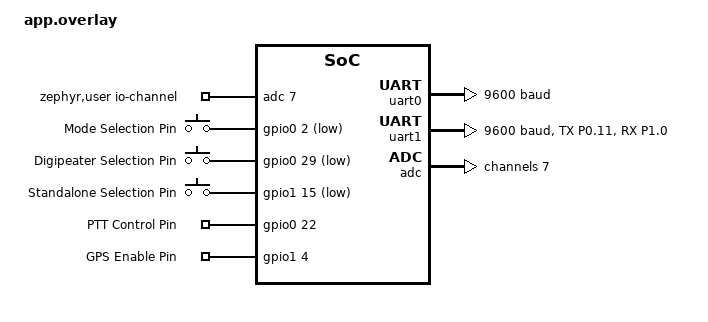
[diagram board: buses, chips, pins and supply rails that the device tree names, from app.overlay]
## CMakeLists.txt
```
cmake_minimum_required(VERSION 3.20.0)
find_package(Zephyr REQUIRED HINTS $ENV{ZEPHYR_BASE})
project(peripheral_nus)

target_sources(app PRIVATE
        src/main.c
        src/mode_select.c
        src/ptt.c
        src/gps.c
        src/gps_format.c
        src/tnc_config.c
        src/ax25.c
        src/fx25.c
        src/kiss.c
        src/tnc.c
        src/afsk_modulator.cpp
        src/afsk_demodulator.cpp
        src/audio_tx_pwm.cpp
        src/audio_rx_adc.cpp
)
```

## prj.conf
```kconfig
# Bluetooth
CONFIG_BT=y
CONFIG_BT_PERIPHERAL=y
CONFIG_BT_DEVICE_NAME="YATNC"
CONFIG_BT_DEVICE_APPEARANCE=833
CONFIG_BT_ZEPHYR_NUS=y

# MTU – allow large packets so whole messages fit in one notification
CONFIG_BT_L2CAP_TX_MTU=247
CONFIG_BT_BUF_ACL_RX_SIZE=251
CONFIG_BT_BUF_ACL_TX_SIZE=251
CONFIG_BT_CTLR_DATA_LENGTH_MAX=251

# UART – interrupt-driven
CONFIG_SERIAL=y
CONFIG_UART_INTERRUPT_DRIVEN=y
CONFIG_RING_BUFFER=y

# USB CDC ACM console (board DTS routes console to USB)
CONFIG_CONSOLE=y
CONFIG_UART_CONSOLE=y
CONFIG_UART_LINE_CTRL=y

# Boot banner is printed before main() runs, i.e. before a terminal has had
# a chance to open the USB CDC ACM port - it gets dropped. Suppress it and
# print the version manually in main() after waiting for DTR instead.
CONFIG_BOOT_BANNER=n

# Logging
CONFIG_PRINTK=y
CONFIG_THREAD_NAME=y

# Report stack overflows as an immediate fault instead of silent corruption
CONFIG_HW_STACK_PROTECTION=y

# Default (1024) isn't enough: uart_flush_work_handler -> process_uart_to_ble
# -> tnc_process_radio_bytes puts ~1.6KB of locals (payload[512], ax25_frame_t,
# kiss_buf[512], src/dest strings) on this thread's stack per UART frame,
# overflowing it hard enough to lock up the core before the fault handler can
# even print a dump (see tnc.c's raw-stream fallback path).
CONFIG_SYSTEM_WORKQUEUE_STACK_SIZE=4096

# GPIO
CONFIG_GPIO=y

# Persisted runtime config (callsign, beacon interval) - stored in the
# board's existing "storage" flash partition via the NVS settings backend.
CONFIG_FLASH=y
CONFIG_FLASH_MAP=y
CONFIG_NVS=y
CONFIG_SETTINGS=y
CONFIG_SETTINGS_NVS=y

# Hardware PWM for TX Audio DAC (Pin 20 carrier, duty updated per AFSK sample)
CONFIG_PWM=y

# C++ Support for AFSK Modulator & Demodulator
CONFIG_CPP=y
CONFIG_STD_CPP17=y
CONFIG_GLIBCXX_LIBCPP=y
CONFIG_NEWLIB_LIBC=y

# ADC for RX Audio Pin 31 (AIN7)
CONFIG_ADC=y

# Output
CONFIG_BUILD_OUTPUT_UF2=y
```

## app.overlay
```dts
#include <zephyr/dt-bindings/pinctrl/nrf-pinctrl.h>
#include <zephyr/dt-bindings/adc/nrf-saadc.h>

/ {
	chosen {
		zephyr,nus-uart = &uart0;
	};

	zephyr,user {
		io-channels = <&adc 7>; /* AIN7 = P0.31 */
	};

	mode_select {
		compatible = "gpio-keys";
		mode_pin: mode_pin {
			gpios = <&gpio0 2 (GPIO_PULL_UP | GPIO_ACTIVE_LOW)>;
			label = "Mode Selection Pin";
		};
		digi_pin: digi_pin {
			gpios = <&gpio0 29 (GPIO_PULL_UP | GPIO_ACTIVE_LOW)>;
			label = "Digipeater Selection Pin";
		};
		standalone_pin: standalone_pin {
			gpios = <&gpio1 15 (GPIO_PULL_UP | GPIO_ACTIVE_LOW)>;
			label = "Standalone Selection Pin";
		};
	};

	ptt_control {
		compatible = "gpio-keys";
		ptt_pin: ptt_pin {
			gpios = <&gpio0 22 (GPIO_PULL_DOWN | GPIO_ACTIVE_HIGH)>;
			label = "PTT Control Pin";
		};
	};

	gps_control {
		compatible = "gpio-keys";
		gps_enable_pin: gps_enable_pin {
			gpios = <&gpio1 4 (GPIO_PULL_DOWN | GPIO_ACTIVE_HIGH)>;
			label = "GPS Enable Pin";
		};
	};

};

&uart0 {
	current-speed = <9600>;
};

&pinctrl {
	uart1_default: uart1_default {
		group1 {
			psels = <NRF_PSEL(UART_TX, 0, 11)>,
				<NRF_PSEL(UART_RX, 1, 0)>;
		};
	};

	uart1_sleep: uart1_sleep {
		group1 {
			psels = <NRF_PSEL(UART_TX, 0, 11)>,
				<NRF_PSEL(UART_RX, 1, 0)>;
			low-power-enable;
		};
	};
};

&uart1 {
	compatible = "nordic,nrf-uarte";
	status = "okay";
	current-speed = <9600>;
	pinctrl-0 = <&uart1_default>;
	pinctrl-1 = <&uart1_sleep>;
	pinctrl-names = "default", "sleep";
};

&adc {
	#address-cells = <1>;
	#size-cells = <0>;

	channel@7 {
		reg = <7>;
		zephyr,gain = "ADC_GAIN_1_6";
		zephyr,reference = "ADC_REF_INTERNAL";
		zephyr,acquisition-time = <ADC_ACQ_TIME_DEFAULT>;
		zephyr,resolution = <12>;
		zephyr,input-positive = <NRF_SAADC_AIN7>;
	};
};

/*
 * TX Audio (Pin 20) is driven by the nRF52840's hardware PWM peripheral
 * instead of bit-banged GPIO: channel 1 is added alongside the board's
 * existing channel 0 (onboard LED, unused by this app) so PWM0 now also
 * routes to P0.20. The peripheral free-runs the carrier in hardware; the
 * app only updates the duty cycle once per audio sample.
 */
&pwm0_default {
	group2 {
		psels = <NRF_PSEL(PWM_OUT1, 0, 20)>;
	};
};

&pwm0_sleep {
	group2 {
		psels = <NRF_PSEL(PWM_OUT1, 0, 20)>;
		low-power-enable;
	};
};

/*
 * This board ships with Adafruit's UF2 bootloader, which - per the board's
 * own Kconfig.defconfig comment - "exists outside of the partitions
 * specified in the DTS file". The vendor DTS's storage_partition (last 32K
 * of flash, 0xf8000-0x100000) is generic MCUboot-template boilerplate that
 * doesn't reflect this board's real layout: the actual Adafruit bootloader
 * for the nRF52840 occupies roughly 0xf4000-0x100000, directly overlapping
 * it. NVS writing there was erasing the bootloader's own settings/MBR-params
 * pages on every boot. Relocate storage well clear of both our own code
 * (currently ~167K starting at 0x1000) and the real bootloader.
 */
&storage_partition {
	reg = <0x90000 0x8000>;
};
```

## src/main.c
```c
/*
 * UART0 <-> BLE NUS Bridge & APRS TNC Server for ProMicro nRF52840
 *
 * SPDX-License-Identifier: Apache-2.0
 *
 * Uses interrupt-driven UART with a delayed work item for batching.
 * Supports hardware GPIO mode selection:
 *   - APP_MODE_BRIDGE: Transparent UART <-> BLE bridge (Pin High / Unbridged)
 *   - APP_MODE_PACKET_TNC: AX.25 / KISS TNC server (Pin Low / Grounded)
 *   - APP_MODE_DIGIPEATER: AX.25 Digipeater & BLE forwarding (Digi Pin Grounded)
 *
 * Console/printk goes over USB CDC ACM (configured by board DTS).
 */

#include <string.h>
#include <zephyr/kernel.h>
#include <zephyr/device.h>
#include <zephyr/drivers/uart.h>
#include <zephyr/bluetooth/bluetooth.h>
#include <zephyr/bluetooth/conn.h>
#include <zephyr/bluetooth/services/nus.h>
#include <zephyr/sys/ring_buffer.h>
#include <zephyr/version.h>

#include "mode_select.h"
#include "ptt.h"
#include "gps.h"
#include "tnc.h"
#include "ax25.h"
#include "fx25.h"
#include "kiss.h"
#include "tnc_config.h"
#include "audio_tx_pwm.hpp"
#include "audio_rx_adc.hpp"
#include "log_ts.h"

/* ---------- BLE advertising -------------------------------------------- */

#define DEVICE_NAME     CONFIG_BT_DEVICE_NAME
#define DEVICE_NAME_LEN (sizeof(DEVICE_NAME) - 1)

static const struct bt_data ad[] = {
	BT_DATA_BYTES(BT_DATA_FLAGS, (BT_LE_AD_GENERAL | BT_LE_AD_NO_BREDR)),
	BT_DATA(BT_DATA_NAME_COMPLETE, DEVICE_NAME, DEVICE_NAME_LEN),
};

static const struct bt_data sd[] = {
	BT_DATA_BYTES(BT_DATA_UUID128_ALL, BT_UUID_NUS_SRV_VAL),
};

/* ---------- UART ------------------------------------------------------- */

#define UART_NODE DT_CHOSEN(zephyr_nus_uart)
static const struct device *const uart_dev = DEVICE_DT_GET(UART_NODE);

#define RING_BUF_SIZE 1024
RING_BUF_DECLARE(uart_ring_buf, RING_BUF_SIZE);

/*
 * Delayed work: scheduled 50 ms after last received byte.
 * When it fires, the UART line has been idle for 50 ms → full message ready.
 */
static void uart_flush_work_handler(struct k_work *work);
static K_WORK_DELAYABLE_DEFINE(uart_flush_work, uart_flush_work_handler);

#define UART_IDLE_TIMEOUT_MS 50

/* ---------- Forward declarations --------------------------------------- */
static int process_uart_to_ble(void);

/* ---------- UART ISR --------------------------------------------------- */

/* printk() is not IRQ-safe on the USB CDC ACM console backend used here -
 * it can block waiting on the USB stack, which never completes from inside
 * an ISR and freezes the whole system (no fault, no reset, everything
 * including the tick just stops). Count drops here; report them from
 * uart_flush_work_handler() instead, which runs in thread context.
 */
static atomic_t uart_dropped_bytes = ATOMIC_INIT(0);

static void uart_isr(const struct device *dev, void *user_data)
{
	ARG_UNUSED(user_data);

	uart_irq_update(dev);

	if (uart_irq_rx_ready(dev)) {
		uint8_t buf[64];
		int len;

		while ((len = uart_fifo_read(dev, buf, sizeof(buf))) > 0) {
			uint32_t put = ring_buf_put(&uart_ring_buf, buf, len);
			if (put < (uint32_t)len) {
				atomic_add(&uart_dropped_bytes, (atomic_val_t)(len - (int)put));
			}
		}

		/*
		 * (Re)schedule the flush work 50 ms from now.
		 * Batch message when line goes quiet for 50ms.
		 */
		k_work_reschedule(&uart_flush_work, K_MSEC(UART_IDLE_TIMEOUT_MS));
	}
}

/* ---------- Flush work: sends accumulated UART data over BLE ----------- */

static void uart_flush_work_handler(struct k_work *work)
{
	ARG_UNUSED(work);

	atomic_val_t dropped = atomic_set(&uart_dropped_bytes, 0);
	if (dropped) {
		printk("Warning: UART ring buffer full, dropped %d bytes\n", (int)dropped);
	}

	process_uart_to_ble();
}

/*
 * bt_nus_send() -> bt_gatt_notify() -> bt_att_create_pdu() blocks for up to
 * BT_ATT_TIMEOUT (30s, see att.c) when the host's ATT buffer pool is
 * exhausted - i.e. whenever the BLE peer isn't draining notifications as
 * fast as we're producing them. ble_send_raw() is called straight from
 * uart_flush_work_handler on the system workqueue, which is also the only
 * thing draining uart_ring_buf - if it blocks there, UART reception stalls
 * too. Decouple: enqueue here (fast, never blocks) and let a dedicated
 * thread take the blocking hit, same pattern as tx_thread_entry/tx_msgq.
 */
#define BLE_TX_ITEM_MAX_LEN 512
#define BLE_TX_MSGQ_DEPTH 16

struct ble_tx_item {
	uint8_t data[BLE_TX_ITEM_MAX_LEN];
	size_t len;
};

K_MSGQ_DEFINE(ble_tx_msgq, sizeof(struct ble_tx_item), BLE_TX_MSGQ_DEPTH, 4);

/* Ref'd in ble_connected(), unref'd in ble_disconnected() - see below. */
static struct bt_conn *active_conn;

static void ble_tx_thread_entry(void *p1, void *p2, void *p3)
{
	ARG_UNUSED(p1);
	ARG_UNUSED(p2);
	ARG_UNUSED(p3);

	struct ble_tx_item item;
	int consecutive_fail = 0;

	k_thread_name_set(k_current_get(), "ble_tx");

	while (1) {
		k_msgq_get(&ble_tx_msgq, &item, K_FOREVER);

		int err = bt_nus_send(NULL, item.data, item.len);
		if (err) {
			if (err == -ENOTCONN) {
				printk("  (no BLE peer)\n");
				consecutive_fail = 0;
			} else {
				/* bt_att_create_pdu() blocks up to 30s per call when the
				 * peer isn't draining notifications fast enough, then
				 * fails with -ENOMEM - this thread would otherwise grind
				 * at ~1 item/30s forever while ble_send_raw() drops
				 * everything else as "queue full". Two in a row means the
				 * link is wedged, not just slow: force a disconnect so
				 * the peer (or a fresh one) gets a clean reconnect and
				 * the ATT buffer pool has a chance to recover.
				 */
				printk("  bt_nus_send err %d (%d in a row)\n", err, ++consecutive_fail);
				if (consecutive_fail >= 2 && active_conn) {
					printk("BLE TX stuck, forcing disconnect to recover\n");
					bt_conn_disconnect(active_conn, BT_HCI_ERR_REMOTE_USER_TERM_CONN);
					consecutive_fail = 0;
				}
			}
		} else {
			consecutive_fail = 0;
		}
	}
}

/* 1024 was tight for a thread that calls into bt_nus_send()/bt_gatt_notify()
 * on top of its own 520-byte struct ble_tx_item local - bumped as a
 * precaution alongside the system workqueue stack overflow fix (see
 * CONFIG_SYSTEM_WORKQUEUE_STACK_SIZE in prj.conf).
 */
#define BLE_TX_THREAD_STACK_SIZE 2048
#define BLE_TX_THREAD_PRIORITY 7

K_THREAD_DEFINE(ble_tx_thread_id, BLE_TX_THREAD_STACK_SIZE, ble_tx_thread_entry,
		 NULL, NULL, NULL, BLE_TX_THREAD_PRIORITY, 0, 0);

static int ble_send_raw(const uint8_t *data, size_t len)
{
	if (data == NULL || len == 0 || len > BLE_TX_ITEM_MAX_LEN) {
		return -EINVAL;
	}

	struct ble_tx_item item;
	item.len = len;
	memcpy(item.data, data, len);

	int err = k_msgq_put(&ble_tx_msgq, &item, K_NO_WAIT);
	if (err) {
		printk("Warning: BLE TX queue full, dropped notification of %d bytes\n", (int)len);
	}
	return err;
}

static int process_uart_to_ble(void)
{
	uint8_t data[247]; /* max ATT payload */
	int len;

	app_mode_t mode = mode_select_get_current();

	while ((len = ring_buf_get(&uart_ring_buf, data, sizeof(data))) > 0) {
		if (mode == APP_MODE_BRIDGE) {
			printk("UART -> BLE (Bridge): %d bytes\n", len);
			ble_send_raw(data, len);
		} else {
			printk("UART -> TNC Engine (%s): %d bytes\n", mode_select_get_name(mode), len);
			tnc_process_radio_bytes(data, len, mode, uart_dev, ble_send_raw);
		}
	}

	return 0;
}

/* ---------- BLE NUS callbacks ------------------------------------------ */

static void nus_notif_enabled(bool enabled, void *ctx)
{
	ARG_UNUSED(ctx);
	printk("BLE Notifications %s\n", enabled ? "Enabled" : "Disabled");
}

static void nus_received(struct bt_conn *conn, const void *data,
			 uint16_t len, void *ctx)
{
	ARG_UNUSED(conn);
	ARG_UNUSED(ctx);

	app_mode_t mode = mode_select_get_current();

	if (mode == APP_MODE_BRIDGE) {
		printk("BLE -> UART (Bridge): %d bytes\n", len);
		tnc_queue_tx_packet((const uint8_t *)data, len, mode);
	} else {
		printk("BLE -> TNC Engine (%s): %d bytes\n", mode_select_get_name(mode), len);
		tnc_process_ble_bytes((const uint8_t *)data, len, mode, uart_dev, ble_send_raw);
	}
}

static struct bt_nus_cb nus_listener = {
	.notif_enabled = nus_notif_enabled,
	.received      = nus_received,
};

/* ---------- BLE connection callbacks (re-advertise on disconnect) ------ */

static void ble_connected(struct bt_conn *conn, uint8_t err)
{
	if (err) {
		printk("BLE Connect failed (err %u)\n", err);
		return;
	}
	printk("BLE Connected\n");
	active_conn = bt_conn_ref(conn);
}

/*
 * Restarting advertising is deferred to the system workqueue instead of
 * calling bt_le_adv_start() straight from the disconnected callback: the
 * connection object for the link that just dropped isn't necessarily
 * released yet at that point, and starting connectable advertising before
 * it is can fail (observed as bt_le_adv_start() returning -12/-ENOMEM,
 * "no more connection objects available"). Deferring gives the stack a
 * chance to finish tearing down the old connection first.
 */
static void adv_restart_work_handler(struct k_work *work)
{
	ARG_UNUSED(work);

	int err = bt_le_adv_start(BT_LE_ADV_CONN_FAST_1, ad, ARRAY_SIZE(ad), sd, ARRAY_SIZE(sd));
	if (err) {
		printk("Failed to restart advertising: %d\n", err);
	} else {
		printk("Advertising restarted\n");
	}
}
static K_WORK_DEFINE(adv_restart_work, adv_restart_work_handler);

static void ble_disconnected(struct bt_conn *conn, uint8_t reason)
{
	ARG_UNUSED(conn);
	printk("BLE Disconnected (reason 0x%02X), restarting advertising\n", reason);

	if (active_conn) {
		bt_conn_unref(active_conn);
		active_conn = NULL;
	}

	k_work_submit(&adv_restart_work);
}

static struct bt_conn_cb conn_callbacks = {
	.connected    = ble_connected,
	.disconnected = ble_disconnected,
};

/* ---------- Console banner (deferred until a terminal is attached) ----- */

/*
 * CONFIG_BOOT_BANNER is off (see prj.conf) because the normal Zephyr version
 * banner prints before main() even runs - long before a USB CDC ACM terminal
 * has enumerated and opened the port, so it's just dropped. Re-print it (and
 * the hardware mode) from a low-priority thread that polls DTR instead of
 * blocking main() / BLE / UART bring-up on a terminal ever connecting.
 */
static void console_banner_thread_entry(void *p1, void *p2, void *p3)
{
	ARG_UNUSED(p1);
	ARG_UNUSED(p2);
	ARG_UNUSED(p3);

	const struct device *const console_dev = DEVICE_DT_GET(DT_CHOSEN(zephyr_console));
	uint32_t dtr = 0;

	while (!dtr) {
		uart_line_ctrl_get(console_dev, UART_LINE_CTRL_DTR, &dtr);
		k_sleep(K_MSEC(100));
	}

	printk("*** Booting Zephyr OS build %s ***\n", KERNEL_VERSION_STRING);
	printk("=== UART <-> BLE NUS Bridge & APRS TNC Server ===\n");
	printk("Hardware Mode Selected: %s\n", mode_select_get_name(mode_select_get_current()));
}

K_THREAD_DEFINE(console_banner_thread_id, 1024, console_banner_thread_entry,
		 NULL, NULL, NULL, 10, 0, 0);


/* ---------- main ------------------------------------------------------- */

int main(void)
{
	int err;

	printk("=== UART <-> BLE NUS Bridge & APRS TNC Server ===\n");

	mode_select_init();
	tnc_config_init();
	ptt_init();

	bool standalone_fixed_pos = mode_select_get_current() == APP_MODE_STANDALONE &&
				    tnc_config_get_fixed_pos_enabled();

	if (mode_select_get_current() == APP_MODE_STANDALONE && !standalone_fixed_pos) {
		gps_init();
		gps_enable_set(true);
	}

	tnc_init();
	fx25_init();
	printk("FX.25 FEC Engine Initialized (RS(255,239), Tag_01 0x%016llX)\n",
	       (unsigned long long)FX25_TAG_01);
	audio_tx_pwm_init();
	/* TEMPORARY bring-up aid: plain 1200Hz tone on every boot, no BLE/KISS
	 * needed - remove once the PWM DAC -> RC filter -> radio chain is
	 * confirmed working end to end.
	 */
	// audio_tx_pwm_test_tone();
	audio_rx_adc_init(ble_send_raw);

	if (!device_is_ready(uart_dev)) {
		printk("ERROR: UART device not ready\n");
	} else {
		tnc_tx_queue_init(uart_dev);
	}

	/* Only now that tnc_init()/fx25_init()/audio_tx_pwm_init()/
	 * tnc_tx_queue_init() have all run is the TX pipeline actually ready
	 * to carry a frame. gps_start_fixed_position_beacon() can fire the
	 * beacon work item with K_NO_WAIT, so starting it any earlier races
	 * the still-uninitialized PWM/DAC TX hardware - unlike the live-GPS
	 * path above, which can't queue a beacon until a real fix arrives,
	 * long after boot finishes.
	 */
	if (standalone_fixed_pos) {
		gps_start_fixed_position_beacon();
	}

	/* ---- BLE init (first, so device is always discoverable) ------- */
	err = bt_nus_cb_register(&nus_listener, NULL);
	if (err) {
		printk("Failed to register NUS callback: %d\n", err);
		return err;
	}

	err = bt_conn_cb_register(&conn_callbacks);
	if (err) {
		printk("Failed to register connection callbacks: %d\n", err);
		return err;
	}

	err = bt_enable(NULL);
	if (err) {
		printk("Failed to enable Bluetooth: %d\n", err);
		return err;
	}

	err = bt_le_adv_start(BT_LE_ADV_CONN_FAST_1, ad, ARRAY_SIZE(ad),
			      sd, ARRAY_SIZE(sd));
	if (err) {
		printk("Failed to start advertising: %d\n", err);
		return err;
	}

	printk("Advertising as \"%s\"\n", DEVICE_NAME);

	/* ---- UART init ------------------------------------------------ */
	if (!device_is_ready(uart_dev)) {
		printk("ERROR: UART device not ready\n");
		goto idle;
	}

	uart_irq_callback_set(uart_dev, uart_isr);
	uart_irq_rx_enable(uart_dev);

	printk("UART bridge & TNC Server active (IRQ + 50ms idle-batch)\n");

idle:
	/* Main loop */
	while (true) {
		k_sleep(K_FOREVER);
	}

	return 0;
}
```

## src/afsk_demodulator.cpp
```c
#include "afsk_demodulator.hpp"
#include "afsk_modulator.hpp"
#include "ax25.h"
#include <cmath>
#include <cstring>
#include <iostream>

/* rx_bit_buffer_ has no natural cap otherwise: a noisy/open-squelch run
 * that never produces a closing 0x7E flag or 7 consecutive 1-bits would
 * grow it forever, exhausting the heap. Cap it at the largest frame this
 * codebase ever produces (see AX25_MAX_FRAME_LEN) and abort the frame if
 * exceeded, same as kiss_decode_byte's overflow handling.
 */
static constexpr size_t MAX_RX_FRAME_BITS = AX25_MAX_FRAME_LEN * 8;

#ifndef M_PI
#define M_PI 3.14159265358979323846
#endif

BiquadFilter::BiquadFilter() : b0(1), b1(0), b2(0), a1(0), a2(0), x1(0), x2(0), y1(0), y2(0) {}

void BiquadFilter::reset() {
    x1 = x2 = y1 = y2 = 0.0f;
}

float BiquadFilter::process(float x) {
    float y = b0 * x + b1 * x1 + b2 * x2 - a1 * y1 - a2 * y2;
    x2 = x1;
    x1 = x;
    y2 = y1;
    y1 = y;
    return y;
}

BiquadFilter BiquadFilter::lowpass(float f0, float fs, float q) {
    BiquadFilter f;
    float w0 = 2.0f * static_cast<float>(M_PI) * f0 / fs;
    float alpha = std::sin(w0) / (2.0f * q);
    float cos_w0 = std::cos(w0);

    float b0 = (1.0f - cos_w0) / 2.0f;
    float b1 = 1.0f - cos_w0;
    float b2 = (1.0f - cos_w0) / 2.0f;
    float a0 = 1.0f + alpha;
    float a1 = -2.0f * cos_w0;
    float a2 = 1.0f - alpha;

    f.b0 = b0 / a0;
    f.b1 = b1 / a0;
    f.b2 = b2 / a0;
    f.a1 = a1 / a0;
    f.a2 = a2 / a0;
    return f;
}

BiquadFilter BiquadFilter::bandpass(float f0, float fs, float q) {
    BiquadFilter f;
    float w0 = 2.0f * static_cast<float>(M_PI) * f0 / fs;
    float alpha = std::sin(w0) / (2.0f * q);
    float cos_w0 = std::cos(w0);

    float b0 = alpha;
    float b1 = 0.0f;
    float b2 = -alpha;
    float a0 = 1.0f + alpha;
    float a1 = -2.0f * cos_w0;
    float a2 = 1.0f - alpha;

    f.b0 = b0 / a0;
    f.b1 = b1 / a0;
    f.b2 = b2 / a0;
    f.a1 = a1 / a0;
    f.a2 = a2 / a0;
    return f;
}

AFSKDemodulator::AFSKDemodulator(uint32_t sample_rate, uint32_t baud_rate,
                                 float mark_freq, float space_freq)
    : sample_rate_(sample_rate), baud_rate_(baud_rate)
{
    samples_per_symbol_ = static_cast<float>(sample_rate_) / static_cast<float>(baud_rate_);

    float mark_dc = 0.5f * std::cos(2.0f * static_cast<float>(M_PI) * mark_freq / static_cast<float>(sample_rate_));
    float space_dc = 0.5f * std::cos(2.0f * static_cast<float>(M_PI) * space_freq / static_cast<float>(sample_rate_));
    discrim_threshold_ = (mark_dc + space_dc) / 2.0f;

    bpf_input_ = BiquadFilter::bandpass(1700.0f, static_cast<float>(sample_rate_), 0.7071f);
    lpf_baseband_ = BiquadFilter::lowpass(1200.0f, static_cast<float>(sample_rate_), 0.7071f);

    reset();
}

void AFSKDemodulator::reset() {
    bpf_input_.reset();
    lpf_baseband_.reset();
    prev_filtered_sample_ = 0.0f;
    dpll_counter_ = 0;
    prev_baseband_sign_ = true;
    prev_sampled_level_ = 1;

    bit_shift_reg_ = 0;
    ones_count_ = 0;
    in_frame_ = false;
    rx_bit_buffer_.clear();

    fx25_tag_shift_ = 0;
    fx25_capturing_ = false;
    fx25_bit_count_ = 0;
    fx25_last_corrections_ = -1;
}

bool AFSKDemodulator::process_sample(float sample, std::vector<uint8_t>& out_payload) {
    // 1. Frequency Discrimination (1-sample delay product)
    float raw_product = sample * prev_filtered_sample_;
    prev_filtered_sample_ = sample;

    // 2. Lowpass filter baseband output
    float baseband_raw = lpf_baseband_.process(raw_product);

    // Fixed threshold (theoretical midpoint between mark/space discriminator
    // output, computed once in the constructor). An adaptive DC tracker was
    // here before, but it erodes the discrimination margin over long
    // uninterrupted same-tone runs - harmless for plain AX.25 (HDLC bit
    // stuffing caps runs at 5 bits) but FX.25's unstuffed RS parity bytes
    // have no such cap, and the tracker would converge toward the held
    // tone's own level, occasionally flipping marginal bit decisions and
    // corrupting the correlation-tag search.
    float baseband = baseband_raw - discrim_threshold_;

    bool curr_sign = (baseband >= 0.0f);

    // 4. Integer 8-state DPLL clock recovery
    if (curr_sign != prev_baseband_sign_) {
        if (dpll_counter_ > 0 && dpll_counter_ <= 3) {
            dpll_counter_--;
        } else if (dpll_counter_ >= 5 && dpll_counter_ <= 7) {
            dpll_counter_++;
        }
        prev_baseband_sign_ = curr_sign;
    }

    bool packet_decoded = false;

    // Mid-symbol strobe
    if (dpll_counter_ == 4) {
        uint8_t curr_level = curr_sign ? 1 : 0;
        uint8_t nrzi_bit = (curr_level != prev_sampled_level_) ? 0 : 1;
        prev_sampled_level_ = curr_level;

        packet_decoded = process_afsk_bit(nrzi_bit, out_payload);
    }

    dpll_counter_++;
    if (dpll_counter_ >= 8) {
        dpll_counter_ = 0;
    }

    return packet_decoded;
}

bool AFSKDemodulator::process_demodulated_bit(uint8_t bit, std::vector<uint8_t>& out_payload) {
    bit_shift_reg_ = ((bit_shift_reg_ << 1) | bit) & 0xFF;

    // HDLC Flag (0x7E)
    if (bit_shift_reg_ == 0x7E) {
        bool valid_frame = false;
        if (in_frame_ && rx_bit_buffer_.size() >= 7 + 16) {
            rx_bit_buffer_.resize(rx_bit_buffer_.size() - 7); // Remove 7 bits of the closing 0x7E flag

            std::vector<uint8_t> frame_bytes;
            for (size_t i = 0; i + 7 < rx_bit_buffer_.size(); i += 8) {
                uint8_t val = 0;
                for (int b = 0; b < 8; b++) {
                    if (rx_bit_buffer_[i + b]) {
                        val |= (1 << b);
                    }
                }
                frame_bytes.push_back(val);
            }

            if (frame_bytes.size() >= 3) {
                out_payload.assign(frame_bytes.begin(), frame_bytes.end() - 2);
                uint16_t rx_fcs = frame_bytes[frame_bytes.size() - 2] | (frame_bytes[frame_bytes.size() - 1] << 8);
                uint16_t calc_fcs = AFSKModulator::calculate_crc16(out_payload.data(), out_payload.size());

                if (rx_fcs == calc_fcs) {
                    valid_frame = true;
                }
            }
        }

        in_frame_ = true;
        rx_bit_buffer_.clear();
        ones_count_ = 0;
        return valid_frame;
    }

    if (in_frame_) {
        if (bit == 1) {
            ones_count_++;
            if (ones_count_ >= 7) {
                // Abort frame (7 or more consecutive 1s)
                in_frame_ = false;
                rx_bit_buffer_.clear();
                ones_count_ = 0;
                return false;
            }
            rx_bit_buffer_.push_back(1);
        } else {
            if (ones_count_ == 5) {
                // Stuffed zero! Discard bit
                ones_count_ = 0;
                return false;
            }
            ones_count_ = 0;
            rx_bit_buffer_.push_back(0);
        }

        if (rx_bit_buffer_.size() > MAX_RX_FRAME_BITS) {
            // Runaway frame: no flag or abort condition seen in longer than
            // the largest legal frame - noise, not a real packet. Drop it
            // and shed the oversized allocation instead of growing forever.
            in_frame_ = false;
            rx_bit_buffer_.clear();
            rx_bit_buffer_.shrink_to_fit();
            ones_count_ = 0;
            return false;
        }
    }

    return false;
}

bool AFSKDemodulator::process_afsk_bit(uint8_t bit, std::vector<uint8_t>& out_payload) {
    if (fx25_capturing_) {
        size_t byte_idx = fx25_bit_count_ >> 3;
        size_t bit_idx = fx25_bit_count_ & 7;
        if (bit) {
            fx25_block_[byte_idx] |= (uint8_t)(1u << bit_idx);
        }
        fx25_bit_count_++;

        if (fx25_bit_count_ < (size_t)FX25_BLOCK_SIZE * 8) {
            return false;
        }

        // Full RS(255,239) block captured - correct it and pull out the
        // AX.25 frame it carries.
        fx25_capturing_ = false;
        bit_shift_reg_ = 0;
        ones_count_ = 0;
        in_frame_ = false;
        rx_bit_buffer_.clear();

        out_payload.assign(FX25_DATA_SIZE, 0);
        size_t decoded_len = 0;
        int corrected = fx25_decode_block(fx25_block_, out_payload.data(), out_payload.size(), &decoded_len);
        if (corrected < 0) {
            out_payload.clear();
            return false;
        }
        out_payload.resize(decoded_len);
        fx25_last_corrections_ = corrected;
        return true;
    }

    // Correlation-tag search runs alongside the plain-AX.25 flag search
    // below; a match means an FX.25 block is starting on the air.
    fx25_tag_shift_ = (fx25_tag_shift_ >> 1) | ((uint64_t)bit << 63);
    if (__builtin_popcountll(fx25_tag_shift_ ^ (uint64_t)FX25_TAG_01) <= FX25_TAG_MAX_HAMMING) {
        fx25_capturing_ = true;
        fx25_bit_count_ = 0;
        memset(fx25_block_, 0, sizeof(fx25_block_));
        bit_shift_reg_ = 0;
        ones_count_ = 0;
        in_frame_ = false;
        rx_bit_buffer_.clear();
        return false;
    }

    // Only touch fx25_last_corrections_ when a frame actually completes
    // here - not on every idle/preamble bit - otherwise trailing
    // postamble flag bits processed after a successful FX.25 decode (in
    // this same process_buffer call) stomp the flag back to -1 before
    // the caller ever reads it.
    bool decoded = process_demodulated_bit(bit, out_payload);
    if (decoded) {
        fx25_last_corrections_ = -1;
    }
    return decoded;
}

std::vector<std::vector<uint8_t>> AFSKDemodulator::process_buffer(const float* samples, size_t count) {
    std::vector<std::vector<uint8_t>> frames;
    std::vector<uint8_t> payload;

    for (size_t i = 0; i < count; i++) {
        if (process_sample(samples[i], payload)) {
            frames.push_back(payload);
            payload.clear();
        }
    }
    return frames;
}
```

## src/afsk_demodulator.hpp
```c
#ifndef AFSK_DEMODULATOR_HPP
#define AFSK_DEMODULATOR_HPP

#include <cstdint>
#include <cstddef>
#include <vector>
#include "fx25.h"

/**
 * Biquad Filter (Direct Form I / II)
 */
struct BiquadFilter {
    float b0, b1, b2;
    float a1, a2;
    float x1, x2;
    float y1, y2;

    BiquadFilter();
    void reset();
    float process(float x);

    static BiquadFilter lowpass(float f0, float fs, float q = 0.7071f);
    static BiquadFilter bandpass(float f0, float fs, float q = 1.0f);
};

class AFSKDemodulator {
public:
    AFSKDemodulator(uint32_t sample_rate = 9600, uint32_t baud_rate = 1200,
                    float mark_freq = 1200.0f, float space_freq = 2200.0f);

    uint8_t get_rx_pin() const { return 31; } // Pin 31 Input (ADC, AIN7)

    void reset();

    /**
     * Process a single audio sample (from Pin 31).
     * Returns true if a valid HDLC frame was decoded, outputting payload bytes.
     */
    bool process_sample(float sample, std::vector<uint8_t>& out_payload);

    /**
     * Process a buffer of audio samples.
     * Returns all decoded valid HDLC payload frames.
     */
    std::vector<std::vector<uint8_t>> process_buffer(const float* samples, size_t count);

    /**
     * Number of byte errors the last successfully decoded frame required
     * FX.25 Reed-Solomon correction for, or -1 if the last decoded frame
     * was plain AX.25 (no FX.25 correlation tag involved).
     */
    int last_fx25_corrections() const { return fx25_last_corrections_; }

private:
    uint32_t sample_rate_;
    uint32_t baud_rate_;
    float samples_per_symbol_;
    float discrim_threshold_;

    BiquadFilter bpf_input_;
    BiquadFilter lpf_baseband_;

    float prev_filtered_sample_;
    int dpll_counter_;
    bool prev_baseband_sign_;
    uint8_t prev_sampled_level_;

    // HDLC Framer state
    uint8_t bit_shift_reg_;
    int ones_count_;
    bool in_frame_;
    std::vector<uint8_t> rx_bit_buffer_;

    bool process_demodulated_bit(uint8_t bit, std::vector<uint8_t>& out_payload);

    // FX.25 correlation-tag search + RS(255,239) block capture, running
    // in parallel with the plain-AX.25 flag search above.
    bool process_afsk_bit(uint8_t bit, std::vector<uint8_t>& out_payload);
    uint64_t fx25_tag_shift_;
    bool fx25_capturing_;
    size_t fx25_bit_count_;
    uint8_t fx25_block_[FX25_BLOCK_SIZE];
    int fx25_last_corrections_;
};

#endif // AFSK_DEMODULATOR_HPP
```

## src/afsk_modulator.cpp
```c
#include "afsk_modulator.hpp"
#include "fx25.h"
#include <cmath>
#include <vector>
#include <iostream>

#ifndef M_PI
#define M_PI 3.14159265358979323846
#endif

AFSKModulator::AFSKModulator(uint32_t sample_rate, uint32_t baud_rate,
                             float mark_freq, float space_freq,
                             uint16_t tx_delay_flags, uint16_t tx_tail_flags)
    : sample_rate_(sample_rate), baud_rate_(baud_rate),
      mark_freq_(mark_freq), space_freq_(space_freq),
      tx_delay_flags_(tx_delay_flags), tx_tail_flags_(tx_tail_flags),
      phase_(0.0f), current_nrzi_level_(1)
{
    samples_per_symbol_ = static_cast<float>(sample_rate_) / static_cast<float>(baud_rate_);
}

void AFSKModulator::reset_state() {
    phase_ = 0.0f;
    current_nrzi_level_ = 1;
}

uint16_t AFSKModulator::calculate_crc16(const uint8_t* data, size_t len) {
    uint16_t crc = 0xFFFF;
    for (size_t i = 0; i < len; i++) {
        crc ^= data[i];
        for (int b = 0; b < 8; b++) {
            if (crc & 0x0001) {
                crc = (crc >> 1) ^ 0x8408;
            } else {
                crc >>= 1;
            }
        }
    }
    return crc ^ 0xFFFF;
}

std::vector<uint8_t> AFSKModulator::bytes_to_bits(const uint8_t* data, size_t len) {
    std::vector<uint8_t> bits;
    bits.reserve(len * 8);
    for (size_t i = 0; i < len; i++) {
        uint8_t b = data[i];
        for (int bit_idx = 0; bit_idx < 8; bit_idx++) {
            bits.push_back((b >> bit_idx) & 1);
        }
    }
    return bits;
}

std::vector<uint8_t> AFSKModulator::hdlc_bit_stuff(const std::vector<uint8_t>& bits) {
    std::vector<uint8_t> stuffed;
    stuffed.reserve(bits.size() + bits.size() / 5);
    int ones_count = 0;

    for (uint8_t bit : bits) {
        stuffed.push_back(bit);
        if (bit == 1) {
            ones_count++;
            if (ones_count == 5) {
                stuffed.push_back(0); // Insert stuffed zero
                ones_count = 0;
            }
        } else {
            ones_count = 0;
        }
    }
    return stuffed;
}

std::vector<uint8_t> AFSKModulator::nrzi_encode(const std::vector<uint8_t>& bits) {
    std::vector<uint8_t> nrzi;
    nrzi.reserve(bits.size());
    uint8_t level = current_nrzi_level_;

    for (uint8_t bit : bits) {
        if (bit == 0) {
            level = 1 - level; // Toggle
        }
        nrzi.push_back(level);
    }
    current_nrzi_level_ = level;
    return nrzi;
}

std::vector<float> AFSKModulator::generate_audio_pcm(const std::vector<uint8_t>& nrzi_levels) {
    std::vector<float> pcm;
    pcm.reserve(static_cast<size_t>(nrzi_levels.size() * samples_per_symbol_));

    const uint32_t n_samples = static_cast<uint32_t>(samples_per_symbol_ + 0.5f);

    for (uint8_t level : nrzi_levels) {
        float freq = (level == 1) ? mark_freq_ : space_freq_;
        float phase_inc = 2.0f * static_cast<float>(M_PI) * freq / static_cast<float>(sample_rate_);

        for (uint32_t s = 0; s < n_samples; s++) {
            pcm.push_back(std::sin(phase_));
            phase_ += phase_inc;
            if (phase_ >= 2.0f * static_cast<float>(M_PI)) {
                phase_ -= 2.0f * static_cast<float>(M_PI);
            }
        }
    }
    return pcm;
}

std::vector<float> AFSKModulator::modulate_frame(const uint8_t* payload, size_t payload_len,
                                                  uint32_t* out_preamble_samples,
                                                  uint32_t* out_postamble_samples) {
    reset_state();

    // 1. Calculate CRC-16
    uint16_t crc = calculate_crc16(payload, payload_len);
    std::vector<uint8_t> frame_bytes(payload, payload + payload_len);
    frame_bytes.push_back(crc & 0xFF);
    frame_bytes.push_back((crc >> 8) & 0xFF);

    // 2. Preamble (0x7E flags)
    std::vector<uint8_t> preamble_bytes(tx_delay_flags_, 0x7E);
    std::vector<uint8_t> preamble_bits = bytes_to_bits(preamble_bytes.data(), preamble_bytes.size());

    // 3. Payload + CRC (bit-stuffed)
    std::vector<uint8_t> payload_bits = bytes_to_bits(frame_bytes.data(), frame_bytes.size());
    std::vector<uint8_t> stuffed_payload_bits = hdlc_bit_stuff(payload_bits);

    // 4. Postamble (0x7E flags)
    std::vector<uint8_t> postamble_bytes(tx_tail_flags_, 0x7E);
    std::vector<uint8_t> postamble_bits = bytes_to_bits(postamble_bytes.data(), postamble_bytes.size());

    // Combine all bits
    std::vector<uint8_t> all_bits;
    all_bits.reserve(preamble_bits.size() + stuffed_payload_bits.size() + postamble_bits.size());
    all_bits.insert(all_bits.end(), preamble_bits.begin(), preamble_bits.end());
    all_bits.insert(all_bits.end(), stuffed_payload_bits.begin(), stuffed_payload_bits.end());
    all_bits.insert(all_bits.end(), postamble_bits.begin(), postamble_bits.end());

    // NRZI & PCM generation
    std::vector<uint8_t> nrzi_levels = nrzi_encode(all_bits);

    if (out_preamble_samples) {
        *out_preamble_samples = static_cast<uint32_t>(preamble_bits.size() * samples_per_symbol_ + 0.5f);
    }
    if (out_postamble_samples) {
        *out_postamble_samples = static_cast<uint32_t>(postamble_bits.size() * samples_per_symbol_ + 0.5f);
    }

    return generate_audio_pcm(nrzi_levels);
}

std::vector<float> AFSKModulator::modulate_fx25_frame(const uint8_t* payload, size_t payload_len) {
    reset_state();

    uint8_t block[FX25_BLOCK_SIZE];
    if (fx25_build_block(payload, payload_len, block) != 0) {
        return {}; // Doesn't fit a single RS(255,239) block - fall back to plain AX.25.
    }

    uint8_t tag_bytes[FX25_TAG_BYTES];
    uint64_t tag = FX25_TAG_01;
    for (int i = 0; i < FX25_TAG_BYTES; i++) {
        tag_bytes[i] = (uint8_t)(tag >> (i * 8));
    }

    std::vector<uint8_t> preamble_bytes(tx_delay_flags_, 0x7E);
    std::vector<uint8_t> postamble_bytes(tx_tail_flags_, 0x7E);

    // Tag + RS block are NOT HDLC bit-stuffed (fx25_build_block already
    // baked the flags/stuffing into the block); only the ordinary
    // preamble/postamble flags surround them, same as a plain AX.25 frame.
    std::vector<uint8_t> all_bits = bytes_to_bits(preamble_bytes.data(), preamble_bytes.size());
    std::vector<uint8_t> tag_bits = bytes_to_bits(tag_bytes, sizeof(tag_bytes));
    std::vector<uint8_t> block_bits = bytes_to_bits(block, sizeof(block));
    std::vector<uint8_t> postamble_bits = bytes_to_bits(postamble_bytes.data(), postamble_bytes.size());

    all_bits.insert(all_bits.end(), tag_bits.begin(), tag_bits.end());
    all_bits.insert(all_bits.end(), block_bits.begin(), block_bits.end());
    all_bits.insert(all_bits.end(), postamble_bits.begin(), postamble_bits.end());

    std::vector<uint8_t> nrzi_levels = nrzi_encode(all_bits);
    return generate_audio_pcm(nrzi_levels);
}
```

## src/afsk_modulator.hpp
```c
#ifndef AFSK_MODULATOR_HPP
#define AFSK_MODULATOR_HPP

#include <cstdint>
#include <cstddef>
#include <vector>

/**
 * Hardware Pin Constraints:
 * - Pin 9 & Pin 10: Reserved for Serial0 UART (NEVER touched or reconfigured).
 * - Pin 31: RX Audio Input (ADC, AIN7)
 * - Pin 20: TX Audio Output
 * - Pin 22: PTT Control Output
 */
constexpr uint8_t HARDWARE_PIN_RX_AUDIO = 31;
constexpr uint8_t HARDWARE_PIN_TX_AUDIO = 20;
constexpr uint8_t HARDWARE_PIN_PTT      = 22;

class AFSKModulator {
public:
    AFSKModulator(uint32_t sample_rate = 9600, uint32_t baud_rate = 1200,
                  float mark_freq = 1200.0f, float space_freq = 2200.0f,
                  uint16_t tx_delay_flags = 16, uint16_t tx_tail_flags = 8);

    uint8_t get_ptt_pin() const { return HARDWARE_PIN_PTT; }
    uint8_t get_tx_pin() const  { return HARDWARE_PIN_TX_AUDIO; }

    /**
     * Compute 16-bit HDLC/AX.25 CRC-16 (FCS).
     */
    static uint16_t calculate_crc16(const uint8_t* data, size_t len);

    /**
     * Convert bytes to LSB-first bit stream.
     */
    static std::vector<uint8_t> bytes_to_bits(const uint8_t* data, size_t len);

    /**
     * Perform HDLC bit-stuffing (insert 0 after 5 consecutive 1s).
     */
    static std::vector<uint8_t> hdlc_bit_stuff(const std::vector<uint8_t>& bits);

    /**
     * Modulate a payload frame into continuous-phase PCM float audio samples.
     * Manages Pin 22 PTT timing metadata.
     */
    std::vector<float> modulate_frame(const uint8_t* payload, size_t payload_len,
                                      uint32_t* out_preamble_samples = nullptr,
                                      uint32_t* out_postamble_samples = nullptr);

    /**
     * Modulate an AX.25 frame wrapped in FX.25 forward error correction
     * (correlation tag + RS(255,239) block instead of a plain HDLC frame).
     * Returns an empty vector if the frame doesn't fit in one RS block -
     * caller should fall back to modulate_frame() for plain AX.25.
     */
    std::vector<float> modulate_fx25_frame(const uint8_t* payload, size_t payload_len);

private:
    uint32_t sample_rate_;
    uint32_t baud_rate_;
    float mark_freq_;
    float space_freq_;
    float samples_per_symbol_;
    uint16_t tx_delay_flags_;
    uint16_t tx_tail_flags_;

    float phase_;
    uint8_t current_nrzi_level_;

    void reset_state();
    std::vector<uint8_t> nrzi_encode(const std::vector<uint8_t>& bits);
    std::vector<float> generate_audio_pcm(const std::vector<uint8_t>& nrzi_levels);
};

#endif // AFSK_MODULATOR_HPP
```

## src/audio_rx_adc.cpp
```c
#include "audio_rx_adc.hpp"
#include "afsk_demodulator.hpp"
#include "kiss.h"
#include "mode_select.h"
#include <zephyr/kernel.h>
#include <zephyr/drivers/adc.h>
#include <zephyr/sys/printk.h>
#include "log_ts.h"
#include <vector>

#define RX_AUDIO_ADC_NODE DT_PATH(zephyr_user)

#if DT_NODE_EXISTS(RX_AUDIO_ADC_NODE)
static const struct adc_dt_spec rx_audio_adc = ADC_DT_SPEC_GET_BY_IDX(RX_AUDIO_ADC_NODE, 0);
#endif

static ble_send_func_t g_ble_send_cb = NULL;
static AFSKDemodulator g_demod(9600, 1200);

/* Raw SAADC counts are biased around whatever DC level the analog front
 * end centers the audio signal at (not necessarily VDD/2, depends on the
 * bias network on Pin 31) - track and remove it with a slow leaky
 * integrator so process_sample() sees an AC-coupled, roughly zero-centered
 * signal the way it did from the old digital GPIO input. alpha is small
 * enough to leave 1200/2200 Hz AFSK tones untouched while still tracking
 * bias drift.
 *
 * ADC_COUNTS_TO_UNITY is a calibration knob, not a measured constant: the
 * demodulator's discriminator math (see afsk_demodulator.cpp) assumes a
 * roughly unit-amplitude input, but the actual peak swing out of the radio's
 * discriminator/audio-in circuit depends on hardware gain that varies board
 * to board. Tune this against real signal if decode quality is poor.
 */
#define ADC_DC_TRACK_ALPHA 0.001f
#define ADC_COUNTS_TO_UNITY 600.0f
static float g_dc_estimate = 2048.0f; /* mid-scale start for a 12-bit ADC */

#define RX_THREAD_STACK_SIZE 3072 /* FX.25 RS(255,239) decode needs headroom beyond plain AX.25 */
#define RX_THREAD_PRIORITY 6

static void rx_audio_thread_entry(void *p1, void *p2, void *p3)
{
	ARG_UNUSED(p1);
	ARG_UNUSED(p2);
	ARG_UNUSED(p3);

	k_thread_name_set(k_current_get(), "rx_afsk");

	std::vector<uint8_t> payload;
	int16_t adc_raw = 0;
	int16_t window_min = 0, window_max = 0;
	uint32_t sample_count = 0;

	struct adc_sequence sequence = {
		.buffer = &adc_raw,
		.buffer_size = sizeof(adc_raw),
	};

	while (1) {
		app_mode_t mode = mode_select_get_current();
		if (mode == APP_MODE_PACKET_TNC || mode == APP_MODE_DIGIPEATER ||
		    mode == APP_MODE_STANDALONE) {
#if DT_NODE_EXISTS(RX_AUDIO_ADC_NODE)
			if (adc_is_ready_dt(&rx_audio_adc) &&
			    adc_sequence_init_dt(&rx_audio_adc, &sequence) == 0 &&
			    adc_read_dt(&rx_audio_adc, &sequence) == 0) {
				g_dc_estimate += ((float)adc_raw - g_dc_estimate) * ADC_DC_TRACK_ALPHA;
				float ac = (float)adc_raw - g_dc_estimate;

				/* Bring-up diagnostic: with no signal (or bad bias) this
				 * stays near zero - a real AFSK tone swings noticeably
				 * whenever a packet is on the air.
				 */
				int16_t ac_i = (int16_t)ac;
				if (sample_count == 0 || ac_i < window_min) {
					window_min = ac_i;
				}
				if (sample_count == 0 || ac_i > window_max) {
					window_max = ac_i;
				}
				if (++sample_count >= 9600) {
					int16_t pp = window_max - window_min;
					if (pp > 200) {
						printk("[AFSK RX] Pin 31 activity: %d counts peak-to-peak\n", pp);
					}
					sample_count = 0;
				}

				float sample = ac / ADC_COUNTS_TO_UNITY;

				if (g_demod.process_sample(sample, payload)) {
					int fx25_corrections = g_demod.last_fx25_corrections();
					if (fx25_corrections >= 0) {
						printk("[AFSK RX] Decoded AX.25 Frame via FX.25 FEC, len %d (%d byte errors corrected)\n",
						       (int)payload.size(), fx25_corrections);
					} else {
						printk("[AFSK RX] Decoded AX.25 Frame, len %d\n", (int)payload.size());
					}

					/* Wrap decoded payload into KISS frame and send over BLE NUS */
					uint8_t kiss_buf[512];
					int kiss_len = kiss_encode_frame(KISS_CMD_DATA, payload.data(), payload.size(), kiss_buf, sizeof(kiss_buf));

					if (kiss_len > 0 && g_ble_send_cb != NULL) {
						g_ble_send_cb(kiss_buf, kiss_len);
					}
					payload.clear();
				}
			}
#endif
		}
		k_usleep(104); // 9600 Hz sampling interval (104 us)
	}
}

K_THREAD_DEFINE(rx_audio_thread_id, RX_THREAD_STACK_SIZE, rx_audio_thread_entry, NULL, NULL, NULL, RX_THREAD_PRIORITY, 0, 0);

extern "C" int audio_rx_adc_init(ble_send_func_t ble_send_cb)
{
	g_ble_send_cb = ble_send_cb;
#if DT_NODE_EXISTS(RX_AUDIO_ADC_NODE)
	if (adc_is_ready_dt(&rx_audio_adc) && adc_channel_setup_dt(&rx_audio_adc) == 0) {
		printk("RX Audio Pin 31 ADC initialized (9600 Hz AFSK Demodulator thread active)\n");
	} else {
		printk("ERROR: RX Audio ADC (Pin 31) not ready\n");
	}
#endif
	return 0;
}
```

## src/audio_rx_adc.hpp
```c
#ifndef AUDIO_RX_ADC_HPP
#define AUDIO_RX_ADC_HPP

#include <stdint.h>
#include <stddef.h>

#ifdef __cplusplus
extern "C" {
#endif

typedef int (*ble_send_func_t)(const uint8_t *data, size_t len);

int audio_rx_adc_init(ble_send_func_t ble_send_cb);

#ifdef __cplusplus
}
#endif

#endif // AUDIO_RX_ADC_HPP
```

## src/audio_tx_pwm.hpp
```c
#ifndef AUDIO_TX_PWM_HPP
#define AUDIO_TX_PWM_HPP

#include <stdint.h>
#include <stddef.h>
#include <stdbool.h>
#include "mode_select.h"

#ifdef __cplusplus
extern "C" {
#endif

int audio_tx_pwm_init(void);
void audio_tx_set_gain(float gain);
float audio_tx_get_gain(void);
void audio_tx_set_fx25(bool enable);
bool audio_tx_get_fx25(void);
void audio_tx_pwm_play_packet(const uint8_t *data, size_t len, app_mode_t mode);

/* Bring-up/debug aid: keys PTT and plays a plain continuous 1200Hz tone for
 * a few seconds, bypassing BLE/KISS/AX.25/AFSK-framing entirely - isolates
 * whether the PWM DAC + RC filter + radio interface chain works at all,
 * without needing to catch a sub-second real packet with a scope/recorder.
 */
void audio_tx_pwm_test_tone(void);

#ifdef __cplusplus
}
#endif

#endif // AUDIO_TX_PWM_HPP
```

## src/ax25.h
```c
#ifndef AX25_H_
#define AX25_H_

#include <stdint.h>
#include <stddef.h>
#include <stdbool.h>

#define AX25_CALLSIGN_LEN 6
#define AX25_ADDR_LEN 7
#define AX25_MAX_DIGIS 8
#define AX25_MAX_PAYLOAD 256
#define AX25_MAX_FRAME_LEN (AX25_ADDR_LEN * (2 + AX25_MAX_DIGIS) + 2 + AX25_MAX_PAYLOAD + 2)

#define AX25_CTRL_UI 0x03
#define AX25_PID_NO_L3 0xF0

typedef struct {
	char callsign[AX25_CALLSIGN_LEN + 1];
	uint8_t ssid;
	bool has_been_repeated; /* H-bit for digipeaters */
} ax25_address_t;

typedef struct {
	ax25_address_t dest;
	ax25_address_t src;
	ax25_address_t digis[AX25_MAX_DIGIS];
	uint8_t digi_count;
	uint8_t control;
	uint8_t pid;
	uint8_t payload[AX25_MAX_PAYLOAD];
	uint16_t payload_len;
} ax25_frame_t;

uint16_t ax25_calc_crc16(const uint8_t *buffer, size_t len);

int ax25_decode(const uint8_t *raw, size_t raw_len, ax25_frame_t *frame);
int ax25_encode(const ax25_frame_t *frame, uint8_t *out_buf, size_t out_buf_size);

void ax25_format_callsign(const ax25_address_t *addr, char *buf, size_t buf_size);
int ax25_parse_callsign(const char *str, ax25_address_t *addr);

/* Parse a TNC2 monitor line ("SRC>DEST,DIGI1,DIGI2:payload") into a UI
 * frame. Returns 0 on success, -1 if the text doesn't look like a
 * monitor line (no '>'/':' in the right order, or an empty call).
 */
int ax25_parse_monitor(const uint8_t *data, size_t len, ax25_frame_t *frame);

#endif /* AX25_H_ */
```

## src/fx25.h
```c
#ifndef FX25_H_
#define FX25_H_

#include <stdint.h>
#include <stddef.h>

/*
 * FX.25: Forward Error Correction extension to AX.25
 * (Jim McGuire KB3MPL / Phil Karn KA9Q algorithm, as used by Direwolf and
 * other amateur packet TNCs - http://www.stensat.org/docs/FX-25_01_06.pdf)
 *
 * An AX.25 frame is HDLC bit-stuffed and flag-padded to fill a fixed
 * 239-byte block, a 16-byte Reed-Solomon RS(255,239) parity block is
 * computed over it, and an 8-byte correlation tag identifying the format
 * is prefixed on air. A receiver that recognizes the tag can correct up
 * to 8 corrupted bytes per block before even looking at the AX.25 FCS.
 *
 * Only the single "Tag_01" RS(255,239) format is implemented (the
 * mandatory/most common one - Direwolf falls back to it for any frame
 * that fits). Frames too large for one block (see fx25_build_block)
 * simply aren't eligible for FX.25 and the caller should fall back to
 * plain AX.25.
 */

#ifdef __cplusplus
extern "C" {
#endif

#define FX25_TAG_01        0xB74DB7DF8A532F3EULL /* RS(255,239): 16 check bytes, 239 info bytes */
#define FX25_TAG_BYTES     8
#define FX25_BLOCK_SIZE    255
#define FX25_DATA_SIZE     239
#define FX25_CHECK_SIZE    16
#define FX25_TAG_MAX_HAMMING 8 /* bit errors tolerated in a tag match (Direwolf's tuned value) */

void fx25_init(void);

/*
 * Build a full FX.25 RS(255,239) codeword (out_block[FX25_BLOCK_SIZE])
 * from a raw AX.25 frame (addresses..info, no FCS - same convention as
 * the KISS payload elsewhere in this codebase). Appends the FCS,
 * HDLC-stuffs it between flags, pads to the fixed block size with more
 * flag bytes, then appends the 16 Reed-Solomon check bytes.
 *
 * Returns 0 on success, -1 if the frame (after stuffing) doesn't fit in
 * a single 239-byte block - caller should fall back to plain AX.25.
 */
int fx25_build_block(const uint8_t *payload, size_t len, uint8_t out_block[FX25_BLOCK_SIZE]);

/*
 * Reed-Solomon correct a received 255-byte block in place, then extract
 * and FCS-verify the embedded AX.25 frame (FCS stripped from the
 * output, matching fx25_build_block's input convention).
 *
 * Returns the number of byte errors corrected (>= 0) on success, or -1
 * if the block is uncorrectable or no valid frame was found inside it.
 */
int fx25_decode_block(uint8_t block[FX25_BLOCK_SIZE], uint8_t *out_payload, size_t out_max, size_t *out_len);

#ifdef __cplusplus
}
#endif

#endif /* FX25_H_ */
```
